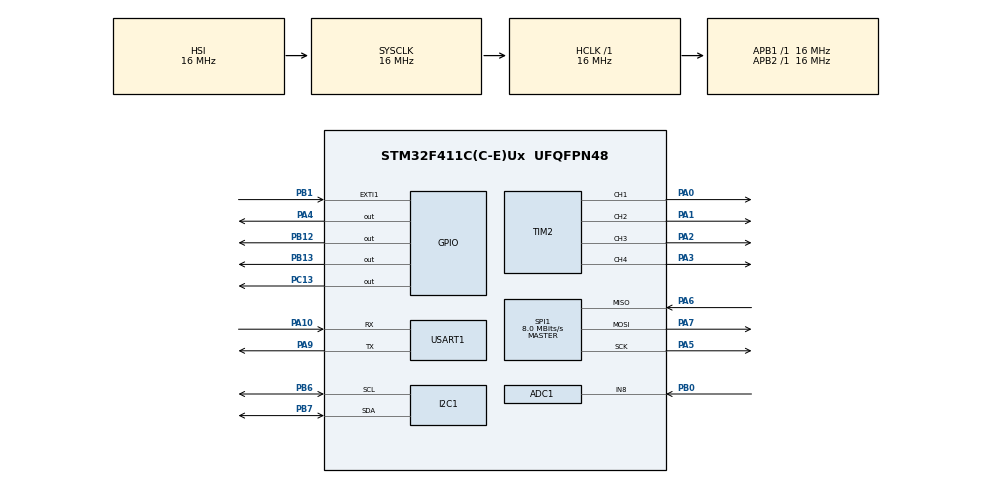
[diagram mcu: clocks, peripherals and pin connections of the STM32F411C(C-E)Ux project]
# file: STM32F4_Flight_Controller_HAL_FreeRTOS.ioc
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ADC1.Channel-7\#ChannelRegularConversion=ADC_CHANNEL_8
ADC1.NbrOfConversionFlag=1
ADC1.Rank-7\#ChannelRegularConversion=1
ADC1.SamplingTime-7\#ChannelRegularConversion=ADC_SAMPLETIME_3CYCLES
ADC1.master=1
Dma.ADC1.0.Direction=DMA_PERIPH_TO_MEMORY
Dma.ADC1.0.FIFOMode=DMA_FIFOMODE_DISABLE
Dma.ADC1.0.Instance=DMA2_Stream0
Dma.ADC1.0.MemDataAlignment=DMA_MDATAALIGN_HALFWORD
Dma.ADC1.0.MemInc=DMA_MINC_ENABLE
Dma.ADC1.0.Mode=DMA_CIRCULAR
Dma.ADC1.0.PeriphDataAlignment=DMA_PDATAALIGN_HALFWORD
Dma.ADC1.0.PeriphInc=DMA_PINC_DISABLE
Dma.ADC1.0.Priority=DMA_PRIORITY_LOW
Dma.Request0=ADC1
Dma.Request1=USART1_TX
Dma.Request2=USART1_RX
Dma.USART1_RX.2.Direction=DMA_PERIPH_TO_MEMORY
Dma.USART1_RX.2.FIFOMode=DMA_FIFOMODE_DISABLE
Dma.USART1_RX.2.Instance=DMA2_Stream2
Dma.USART1_RX.2.MemDataAlignment=DMA_MDATAALIGN_BYTE
Dma.USART1_RX.2.MemInc=DMA_MINC_ENABLE
Dma.USART1_RX.2.Mode=DMA_NORMAL
Dma.USART1_RX.2.PeriphDataAlignment=DMA_PDATAALIGN_BYTE
Dma.USART1_RX.2.PeriphInc=DMA_PINC_DISABLE
Dma.USART1_RX.2.Priority=DMA_PRIORITY_LOW
Dma.USART1_TX.1.Direction=DMA_MEMORY_TO_PERIPH
Dma.USART1_TX.1.FIFOMode=DMA_FIFOMODE_DISABLE
Dma.USART1_TX.1.Instance=DMA2_Stream7
Dma.USART1_TX.1.MemDataAlignment=DMA_MDATAALIGN_BYTE
Dma.USART1_TX.1.MemInc=DMA_MINC_ENABLE
Dma.USART1_TX.1.Mode=DMA_NORMAL
Dma.USART1_TX.1.PeriphDataAlignment=DMA_PDATAALIGN_BYTE
Dma.USART1_TX.1.PeriphInc=DMA_PINC_DISABLE
Dma.USART1_TX.1.Priority=DMA_PRIORITY_LOW
FREERTOS.Tasks01=defaultTask,24,128,StartDefaultTask,Default,NULL,Dynamic,NULL,NULL
FREERTOS.configENABLE_FPU=1
Mcu.Family=STM32F4
Mcu.Name=STM32F411C(C-E)Ux
Mcu.Package=UFQFPN48
NVIC.DMA2_Stream0_IRQn=true\:5\:0\:false\:false\:true\:true\:false\:true\:true
NVIC.DMA2_Stream2_IRQn=true\:5\:0\:false\:false\:true\:true\:false\:true\:true
NVIC.DMA2_Stream7_IRQn=true\:5\:0\:false\:false\:true\:true\:false\:true\:true
NVIC.PriorityGroup=NVIC_PRIORITYGROUP_4
NVIC.TIM1_UP_TIM10_IRQn=true\:15\:0\:false\:false\:true\:false\:false\:true\:true
NVIC.TimeBase=TIM1_UP_TIM10_IRQn
NVIC.TimeBaseIP=TIM1
PA0-WKUP.Signal=S_TIM2_CH1_ETR
PA1.Signal=S_TIM2_CH2
PA10.Mode=Asynchronous
PA10.Signal=USART1_RX
PA13.Mode=Serial_Wire
PA13.Signal=SYS_JTMS-SWDIO
PA14.Mode=Serial_Wire
PA14.Signal=SYS_JTCK-SWCLK
PA2.Signal=S_TIM2_CH3
PA3.Signal=S_TIM2_CH4
PA4.Signal=GPIO_Output
PA5.Mode=Full_Duplex_Master
PA5.Signal=SPI1_SCK
PA6.Mode=Full_Duplex_Master
PA6.Signal=SPI1_MISO
PA7.Mode=Full_Duplex_Master
PA7.Signal=SPI1_MOSI
PA9.Mode=Asynchronous
PA9.Signal=USART1_TX
PB0.Signal=ADCx_IN8
PB1.Signal=GPXTI1
PB12.Signal=GPIO_Output
PB13.Signal=GPIO_Output
PB6.Mode=I2C
PB6.Signal=I2C1_SCL
PB7.Mode=I2C
PB7.Signal=I2C1_SDA
PC13-ANTI_TAMP.Signal=GPIO_Output
PC14-OSC32_IN.Mode=LSE-External-Oscillator
PC14-OSC32_IN.Signal=RCC_OSC32_IN
PC15-OSC32_OUT.Mode=LSE-External-Oscillator
PC15-OSC32_OUT.Signal=RCC_OSC32_OUT
PH0\ -\ OSC_IN.Mode=HSE-External-Oscillator
PH0\ -\ OSC_IN.Signal=RCC_OSC_IN
PH1\ -\ OSC_OUT.Mode=HSE-External-Oscillator
PH1\ -\ OSC_OUT.Signal=RCC_OSC_OUT
ProjectManager.HeapSize=0x200
ProjectManager.StackSize=0x400
ProjectManager.TargetToolchain=CMake
RCC.AHBFreq_Value=16000000
RCC.APB1Freq_Value=16000000
RCC.APB2Freq_Value=16000000
RCC.CortexFreq_Value=16000000
RCC.HSE_VALUE=25000000
RCC.HSI_VALUE=16000000
RCC.SYSCLKFreq_VALUE=16000000
RCC.VCOOutputFreq_Value=192000000
SH.ADCx_IN8.0=ADC1_IN8,IN8
SH.S_TIM2_CH1_ETR.0=TIM2_CH1,PWM Generation1 CH1
SH.S_TIM2_CH2.0=TIM2_CH2,PWM Generation2 CH2
SH.S_TIM2_CH3.0=TIM2_CH3,PWM Generation3 CH3
SH.S_TIM2_CH4.0=TIM2_CH4,PWM Generation4 CH4
SPI1.CalculateBaudRate=8.0 MBits/s
SPI1.Direction=SPI_DIRECTION_2LINES
SPI1.Mode=SPI_MODE_MASTER
SPI1.VirtualType=VM_MASTER
TIM2.Channel-PWM\ Generation1\ CH1=TIM_CHANNEL_1
TIM2.Channel-PWM\ Generation2\ CH2=TIM_CHANNEL_2
TIM2.Channel-PWM\ Generation3\ CH3=TIM_CHANNEL_3
TIM2.Channel-PWM\ Generation4\ CH4=TIM_CHANNEL_4
TIM2.OCFastMode_PWM-PWM\ Generation1\ CH1=TIM_OCFAST_DISABLE
USART1.VirtualMode=VM_ASYNC
VP_FREERTOS_VS_CMSIS_V2.Mode=CMSIS_V2
VP_SYS_VS_tim1.Mode=TIM1
board=custom

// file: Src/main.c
/* USER CODE BEGIN Header */
/**
  ******************************************************************************
  * @file           : main.c
  * @brief          : Main program body
  ******************************************************************************
  * @attention
  *
  * Copyright (c) 2026 STMicroelectronics.
  * All rights reserved.
  *
  * This software is licensed under terms that can be found in the LICENSE file
  * in the root directory of this software component.
  * If no LICENSE file comes with this software, it is provided AS-IS.
  *
  ******************************************************************************
  */
/* USER CODE END Header */
#include "main.h"
// #include "cmsis_os.h"
#include "adc.h"
#include "dma.h"
#include "i2c.h"
#include "indicators.h"
#include "spi.h"
#include "stm32f4xx_hal.h"
#include "tim.h"
#include "usart.h"
#include "gpio.h"

/* USER CODE BEGIN Includes */
#include <stdbool.h>
#include "mpu6050.h"
#include "bmp280.h"
#include "qmc5883p.h"
#include "sync.h"
#include "logging.h"
#include "helper_functions.h"
/* USER CODE END Includes */

/* USER CODE BEGIN PV */
bool init_success = true;
/* USER CODE END PV */

void SystemClock_Config(void);
void MX_FREERTOS_Init(void);

int main(void)
{

  /* MCU Configuration--------------------------------------------------------*/

  /* Reset of all peripherals, Initializes the Flash interface and the Systick. */
  HAL_Init();

  /* Configure the system clock */
  SystemClock_Config();

  /* Initialize all configured peripherals */
  MX_GPIO_Init();
  MX_DMA_Init();
  MX_ADC1_Init();
  MX_I2C1_Init();
  MX_SPI1_Init();
  MX_TIM2_Init();
  MX_USART1_UART_Init();
  /* USER CODE BEGIN 2 */
  led_on();
  HAL_Delay(100);
  if (!mpu6050_init(&hi2c1)) init_success = false;
  if (!bmp280_init(&hi2c1)) init_success = false;
  if (!qmc5883p_init(&hi2c1)) init_success = false;
  if (!sync_init()) init_success = false;

  if (!init_success) {
    log_printf("Initialization failed!\r\n");
    buzz_error();
    Error_Handler();
  } else {
    log_printf("Initialized successfully.\r\n");
    buzz_init_success();
    led_off();
  }
  /* USER CODE END 2 */

  /* Init scheduler */
  osKernelInitialize();

  /* Call init function for freertos objects (in cmsis_os2.c) */
  MX_FREERTOS_Init();

  /* Start scheduler */
  osKernelStart();

  /* We should never get here as control is now taken by the scheduler */

  /* Infinite loop */
  while (1)
  {
    ///////////////////////// Do Not Use this! Use the FreeRTOS loops!
  }
}

void SystemClock_Config(void)
{
  RCC_OscInitTypeDef RCC_OscInitStruct = {0};
  RCC_ClkInitTypeDef RCC_ClkInitStruct = {0};

  /** Configure the main internal regulator output voltage
  */
  __HAL_RCC_PWR_CLK_ENABLE();
  __HAL_PWR_VOLTAGESCALING_CONFIG(PWR_REGULATOR_VOLTAGE_SCALE1);

  /** Initializes the RCC Oscillators according to the specified parameters
  * in the RCC_OscInitTypeDef structure.
  */
  RCC_OscInitStruct.OscillatorType = RCC_OSCILLATORTYPE_HSI;
  RCC_OscInitStruct.HSIState = RCC_HSI_ON;
  RCC_OscInitStruct.HSICalibrationValue = RCC_HSICALIBRATION_DEFAULT;
  RCC_OscInitStruct.PLL.PLLState = RCC_PLL_NONE;
  if (HAL_RCC_OscConfig(&RCC_OscInitStruct) != HAL_OK)
  {
    Error_Handler();
  }

  /** Initializes the CPU, AHB and APB buses clocks
  */
  RCC_ClkInitStruct.ClockType = RCC_CLOCKTYPE_HCLK|RCC_CLOCKTYPE_SYSCLK
                              |RCC_CLOCKTYPE_PCLK1|RCC_CLOCKTYPE_PCLK2;
  RCC_ClkInitStruct.SYSCLKSource = RCC_SYSCLKSOURCE_HSI;
  RCC_ClkInitStruct.AHBCLKDivider = RCC_SYSCLK_DIV1;
  RCC_ClkInitStruct.APB1CLKDivider = RCC_HCLK_DIV1;
  RCC_ClkInitStruct.APB2CLKDivider = RCC_HCLK_DIV1;

  if (HAL_RCC_ClockConfig(&RCC_ClkInitStruct, FLASH_LATENCY_0) != HAL_OK)
  {
    Error_Handler();
  }
}

void HAL_TIM_PeriodElapsedCallback(TIM_HandleTypeDef *htim)
{
  if (htim->Instance == TIM1)
  {
    HAL_IncTick();
  }
}

void Error_Handler(void)
{
  __disable_irq();
  while (1)
  {
  }
}

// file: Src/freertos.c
/* USER CODE BEGIN Header */
/**
  ******************************************************************************
  * File Name          : freertos.c
  * Description        : Code for freertos applications
  ******************************************************************************
  * @attention
  *
  * Copyright (c) 2026 STMicroelectronics.
  * All rights reserved.
  *
  * This software is licensed under terms that can be found in the LICENSE file
  * in the root directory of this software component.
  * If no LICENSE file comes with this software, it is provided AS-IS.
  *
  ******************************************************************************
  */
/* USER CODE END Header */

#include "FreeRTOS.h"
#include "spi.h"
#include "timers.h"
#include "i2c.h"
#include "portmacro.h"
#include "projdefs.h"
#include "task.h"
#include "main.h"
#include <stdint.h>
#include <stdbool.h>
#include "usart.h"

#include "mpu6050.h"
#include "bmp280.h"
#include "qmc5883p.h"
#include "ema.h"
#include "madgwick_filter.h"
#include "kalman_altitude.h"
#include "sync.h"
#include "helper_functions.h"
#include "indicators.h"
#include "lygapid.h"
#include "velocity_z_control.h"
#include "rx_com.h"

// DEFINE PRIORITY LEVELS (status: working)
#define PRIORITY_PID_FUSION       1 // 500 Hz -> try prio: 2 (radio task starve)
#define PRIORITY_WDT              1 // 1 Hz
#define PRIORITY_SENSOR_READ      1 // 1 kHz
#define PRIORITY_RADIO            1 // Interrupt driven
#define PRIORITY_BLINK            1 // 1 Hz
#define PRIORITY_BATTERY_MONITOR  1 // 10 Hz

// Global variables (to be transferred in: shared_data module)

// Failsafe for Radio
TimerHandle_t linkWatchdogTimer = NULL;
const TickType_t LINK_TIMEOUT_MS = 200;
volatile bool connection_ok = false;

mpu6050Data_t imuData;
bmp280Data_t baroData;
magData_t magData;
MadgwickData_t madData;

KalmanState_t kalmanState;

LyGAPIDControllerData_t pidRoll, pidPitch, pidRollRate, pidPitchRate, pidYawRate;

int16_t telemetry[5] = {0}; // [alt, vz, _, _, vbat]
int16_t cmd[5] = {0}; // [vz_cmd, yaw_rate_cmd, pitch_cmd, roll_cmd, kill]

float MadgwickSensorList[9] = {0}; // [a(3), w(3), m(3)]
float eulerAngles[3] = {0}; // roll, pitch, yaw angles

TaskHandle_t radioTaskHandle;

void MX_FREERTOS_Init(void); /* (MISRA C 2004 rule 8.1) */

// define freeRTOS tasks
void blink_task(void *parameters);
void sensor_task(void *parameters);
void controller_task(void *parameters);
void rx_task(void *parameters);
void vbat_task(void *parameters);

// ------------------- ISR -------------------
void nrfInterruptHandler(void) {
  BaseType_t xHigherPriorityTaskWoken = pdFALSE;
  vTaskNotifyGiveFromISR(radioTaskHandle, &xHigherPriorityTaskWoken);
  portYIELD_FROM_ISR(xHigherPriorityTaskWoken);
}

// === Timer callback (runs in timer task context!) ===
static void linkTimeoutCallback(TimerHandle_t xTimer){
  (void) xTimer;

  connection_ok = false;

  // Safest & fastest way for very short write
  taskENTER_CRITICAL();
  cmd[0] = 0.0f; // zero Vcmd
  cmd[1] = 0.0f; // zero yaw input
  cmd[2] = 0.0f; // zero pitch input
  cmd[3] = 0.0f; // zero roll input
  if (cmd[4] == 0.0f) cmd[5] = 1.0f;   // set E-landing flag;
  taskEXIT_CRITICAL();
}

void initLinkWatchdog(void){
  if (linkWatchdogTimer != NULL) {
    // already created → avoid double creation
    return;
  }

  linkWatchdogTimer = xTimerCreate(
    "LinkWD",
    LINK_TIMEOUT_MS / portTICK_PERIOD_MS, // timer period in ticks
    pdTRUE,                 // auto-reload
    NULL,
    linkTimeoutCallback
  );

  if (linkWatchdogTimer == NULL) {
      // Critical error - handle somehow (LED blink fast, Serial error, etc.)
      // For development you can leave it like this:
      // for(;;) { /* fail safe loop */ }
      connection_ok = false;
      taskENTER_CRITICAL();
      cmd[4] = 1.0f;  // stay killed
      taskEXIT_CRITICAL();
  }

  // We do NOT start it here — first valid packet will start/reset it
}

BaseType_t result;
bool init_flag = false; // Flag to indicate that FreeRTOS tasks have been initialized
void MX_FREERTOS_Init(void) {
  result = xTaskCreate(
    blink_task,
    "Blink Task",
    128,
    NULL,
    PRIORITY_BLINK,
    NULL
  );
  if (result != pdPASS) {
    // Handle task creation failure
    init_flag = false;
    buzz_error();
    Error_Handler();
  }

  result = xTaskCreate(
    sensor_task,
    "Sensor Task",
    256,
    NULL,
    PRIORITY_SENSOR_READ,
    NULL
  );
  if (result != pdPASS) {
    // Handle task creation failure
    init_flag = false;
    buzz_error();
    Error_Handler();
  }

  result = xTaskCreate( // pid controller & fusion
    controller_task,
    "PID & Fusion task",
    256,
    NULL,
    PRIORITY_PID_FUSION,
    NULL
  );
  if (result != pdPASS) {
    init_flag = false;
    buzz_error();
    Error_Handler();
  }

  result = xTaskCreate(
    rx_task,
    "nRF24 RX task",
    256,
    NULL,
    PRIORITY_RADIO,
    &radioTaskHandle
  );
  if (result != pdPASS) {
    init_flag = false;
    buzz_error();
    Error_Handler();
  }

  result = xTaskCreate(
    vbat_task,
    "Battery Monitor Task",
    128,
    NULL,
    PRIORITY_BATTERY_MONITOR,
    NULL
  );
  if (result != pdPASS) {
    init_flag = false;
    buzz_error();
    Error_Handler();
  }

  init_flag = true;
}

void blink_task(void *parameters){
  (void)parameters;
  const TickType_t intervalTicks = pdMS_TO_TICKS(500); // 500 ms = 1 Hz
  TickType_t lastWakeTime = xTaskGetTickCount();

  for (;;){
    led_toggle();
    vTaskDelayUntil(&lastWakeTime, intervalTicks);
  }
}

void sensor_task(void* parameters) {  // 1 kHz
  (void)parameters;

  const TickType_t intervalTicks = pdMS_TO_TICKS(1);  // 1ms = 1 kHz
  TickType_t lastWakeTime = xTaskGetTickCount();

  float local_altitude;
  float ax, ay, az, wx, wy, wz, mx, my, mz; // Madgwick

  ema_t axLPF, ayLPF, azLPF;
  ema_t wxLPF, wyLPF, wzLPF;
  ema_t raw_alt_LPF;
  ema_t vzLPF;
  ema_t azTrueLPF;

  // init for Accel LPF PT1
  emaInit(&axLPF, 1.0f, 3.0f, 1000.0f); // 15 Hz cutoff
  emaInit(&ayLPF, 1.0f, 3.0f, 1000.0f); // 15 Hz cutoff
  emaInit(&azLPF, 1.0f, 3.0f, 1000.0f); // 15 Hz cutoff

  emaInit(&wxLPF, 1.0f, 100.0f, 1000.0f); // 100 Hz cutoff
  emaInit(&wyLPF, 1.0f, 100.0f, 1000.0f); // 100 Hz cutoff
  emaInit(&wzLPF, 1.0f, 100.0f, 1000.0f); // 100 Hz cutoff

  emaInit(&raw_alt_LPF, 1.0f, 5.0f, 1000.0f); //was: PT1, fc = 1 Hz, fs = 1 kHz for raw altitude measurement smoothing
  emaInit(&vzLPF, 1.0f, 5.0f, 200.0f);

  float dt;

  kalman_init(&kalmanState); // Initialize Kalman filter state

  static int kalman_counter = 0; // run every 100 Hz
  const int kalman_interval = 5; //was: 10 ms = 100 Hz

  float fusedAlt = 0.0f;
  float velocity_z = 0.0f;
  float accel_bias = 0.0f;

  float az_true = 0.0f; // in g units
  float az_true_f = 0.0f;
  emaInit(&azTrueLPF, 1.0f, 5.0f, 1000.0f); // PT1 for vertical acceleration in world frame, fc = 2 Hz, fs = 1 kHz (for Kalman fusion)

  for (;;) {
    dt = intervalTicks * portTICK_PERIOD_MS / 1000.0f; // dt in seconds

    kalman_counter++;

    // read the BMP280 sensor
    if (xSemaphoreTake(i2cMutex, pdMS_TO_TICKS(1)) == pdTRUE){
      // read MPU6050, BMP280, Magnetometer sensor:
      if (mpu6050_init(&hi2c1) && bmp280_init(&hi2c1) && qmc5883p_init(&hi2c1)) {

        // Successfully read MPU6050 data (acc_xyz is in g-units)
        ax = imuData.ax;
        ay = imuData.ay;
        az = imuData.az;
        wx = imuData.wx;
        wy = imuData.wy;
        wz = imuData.wz;
        mx = magData.mx;
        my = magData.my;
        mz = magData.mz;

        // Apply EMA filter to accelerometer data
        emaUpdate(&axLPF, ax);
        emaUpdate(&ayLPF, ay);
        emaUpdate(&azLPF, az);
        emaUpdate(&wxLPF, wx);
        emaUpdate(&wyLPF, wy);
        emaUpdate(&wzLPF, wz);

        ax = axLPF.output; // Get filtered X
        ay = ayLPF.output; // Get filtered Y
        az = azLPF.output; // Get filtered Z
        wx = wxLPF.output; // Get filtered X
        wy = wyLPF.output; // Get filtered Y
        wz = wzLPF.output; // Get filtered Z

        local_altitude = baroData.altitude; // Store altitude locally

      }else {
        // usart print:
        Error_Handler();
      }
      xSemaphoreGive(i2cMutex);
    }

    // update the Madgwick's data:
    if (xSemaphoreTake(madgwickMutex, pdMS_TO_TICKS(1)) == pdTRUE){
      MadgwickSensorList[0] = ax; // Accel X
      MadgwickSensorList[1] = ay; // Accel Y
      MadgwickSensorList[2] = az; // Accel Z
      MadgwickSensorList[3] = wx; // Gyro X
      MadgwickSensorList[4] = wy; // Gyro Y
      MadgwickSensorList[5] = wz; // Gyro Z
      MadgwickSensorList[6] = mx; // Mag X
      MadgwickSensorList[7] = my; // Mag Y
      MadgwickSensorList[8] = mz; // Mag Z

      az_true = getTrueAz(&madData, az);  // get vertical acceleration in g units

      xSemaphoreGive(madgwickMutex);
    }

    // call LP filter
    emaUpdate(&raw_alt_LPF, local_altitude); // Update raw altitude LPF
    local_altitude = raw_alt_LPF.output; // Get smoothed altitude for fusion

    emaUpdate(&azTrueLPF, az_true); // LPF for vertical acceleration in world frame

    if (kalman_counter >= kalman_interval) { // 100 Hz
      az_true_f = azTrueLPF.output; // Get smoothed vertical acceleration in world frame for fusion
      if (fabsf(az_true_f - 1.0f) < 0.10f) {  // Ignore small accelerations
        az_true_f = 1.0f;
      }
      az_true_f = (az_true_f - 1.0f) * 9.81f;

      az_true_f = constrainFloat(az_true_f, -20.0f, 20.0f); // Constrain to reasonable range for a drone (tune as needed)

      kalman_update(&kalmanState, local_altitude, az_true_f, dt * kalman_interval); // Kalman filter update for altitude estimation
      fusedAlt = kalmanState.S[0]; // Get altitude estimate from Kalman filter
      velocity_z = kalmanState.S[1]; // Get vertical velocity estimate from Kalman filter
      accel_bias = kalmanState.S[2]; // see if converge to -0.30

      emaUpdate(&vzLPF, velocity_z);
      velocity_z = vzLPF.output; // Get smoothed vertical velocity

      float vz_deadband = 0.15f; // was 20
      // if (fabs(az_true_f) < 0.1f && fabs(velocity_z) < 0.3f) vz_deadband = 0.05f;
      if (fabsf(velocity_z) < vz_deadband) velocity_z = 0.0f; // deadband to prevent jitter around zero velocity

      // leakage for vz
      const float vz_leak = 0.999f;
      velocity_z *= vz_leak;

      kalman_counter = 0; // reset counter
    }

    // Update shared data: BMP280 altitude
    if (xSemaphoreTake(telemetryMutex, pdMS_TO_TICKS(1)) == pdTRUE){
      telemetry[0] = fusedAlt; // Update altitude in telemetry
      telemetry[1] = velocity_z; // Update vertical velocity in telemetry
      xSemaphoreGive(telemetryMutex);
    }

    // // debug printf (one task activated at a time)
    // if (xSemaphoreTake(uartMutex, portMAX_DELAY)){
    //   log_printf("Euler (roll, pitch, yaw): %.2f, %.2f, %.2f\r\n", madData.roll, madData.pitch, madData.yaw);

    //   xSemaphoreGive(uartMutex);
    // }

    vTaskDelayUntil(&lastWakeTime, intervalTicks);
  }
}

void controller_task(void *parameters){
  (void)parameters;

  TickType_t lastWakeTime = xTaskGetTickCount();
  const TickType_t interval = pdMS_TO_TICKS(2);  // 500 Hz
  const float dt = 0.002f;

  // ------ Initialize Adaptive PID (ATTi Mode) -------

  // outer loop: P-controller for roll, pitch, yaw angles (unit: rad)
  initLyGAPID(&pidRoll,  P, 0.0f, 0.0f, GAMMA_B, SIGMA, U_MAX_ROLL, CONTROLLER_MODE);
  initLyGAPID(&pidPitch, P, 0.0f, 0.0f, GAMMA_B, SIGMA, U_MAX_PITCH, CONTROLLER_MODE);

  // inner loop: PID for rates (unit: rad/sec)
  initLyGAPID(&pidRollRate,  KP, KI, KD, GAMMA_B, SIGMA, U_MAX_ROLL_RATE, CONTROLLER_MODE);
  initLyGAPID(&pidPitchRate, KP, KI, KD, B_SIGN, SIGMA, U_MAX_PITCH_RATE, CONTROLLER_MODE);
  initLyGAPID(&pidYawRate,   KP, KI, KD, B_SIGN, SIGMA, U_MAX_YAW_RATE, CONTROLLER_MODE);

  // ====================== CONFIG ======================
  const float BASE_THROTTLE = 1000.0f;      // Fixed base in mixer
  const float MAX_TB        = 555.0f;       // Maximum hover component for takeoff only (was 53% too low, 58% too high), [54, 55]
  const float HOVER_TB      = 545.0f;       // Starting guess - tune this later

  const float KP_VZ = 143.0f; // was 140: [140, 180], 130 was too low
  const float KI_VZ = 0.5f; // was 0.5 good, [0.5, 2]
  const float VZ_OUTPUT_LIMIT = 200.0f; // already good

  const float ARM_HOLD_TIME = 2.1f; // 2.1 sec

  const float MOTOR_MIN = 1050.0f;
  const float MOTOR_MAX = 2000.0f;

  bool KILL_MOTORS = false;
  bool E_LAND = false; // Emergency Landing flag if signal is loss

  // ====================== VARIABLES ======================
  float vz_cmd = 0.0f;                    // Raw stick [-80,100]
  float vz_cmdFiltered = 0.0f;            // in m/s
  float velocity_z = 0.0f;
  float altitude = 0.0f;

  float roll, pitch, yaw;
  float rollRate, pitchRate, yawRate;

  float rollInput, pitchInput, yawInput;

  float rollInputFiltered = 0.0f;
  float pitchInputFiltered = 0.0f;
  float yawInputFiltered = 0.0f;

  // EMA filters
  ema_t R_LPF, P_LPF, Y_LPF, VZ_LPF;
  ema_t Vb_sag_comp_LPF;
  emaInit(&R_LPF, 1.0f, 15.0f, 500.0f);
  emaInit(&P_LPF, 1.0f, 15.0f, 500.0f);
  emaInit(&Y_LPF, 1.0f, 15.0f, 500.0f);
  emaInit(&VZ_LPF, 1.0f, 15.0f, 500.0f);

  emaInit(&Vb_sag_comp_LPF, 1.0f, 5.0f, 500.0f); // PT1 for voltage sag compensation

  // vertical controller mode
  typedef enum {
    VELOCITY_CONTROL,
    ALTITUDE_CONTROL
  } VerticalControlMode_t;

  VerticalControlMode_t vertical_mode = VELOCITY_CONTROL; // @ 100 Hz

  // State machine
  typedef enum {
    DISARMED,
    ARMED_IDLE,
    TAKEOFF,
    FLYING
  } FlightState_t;

  FlightState_t flightState = DISARMED;
  float armingTimer = 0.0f;
  float takeoffRamp = 0.0f;

  float vz_correction = 0.0f;
  float tb = 0.0f;                        // 0 → hover (this is your hover component)
  float Vb = 0.0; // 3s lipo: [10.8V, 12.6V]

  float motor_cmd[4] = {MOTOR_MIN, MOTOR_MIN, MOTOR_MIN, MOTOR_MIN};

  VelocityControlZData_t vz_in;
  init_vz_control(&vz_in, KP_VZ, KI_VZ, VZ_OUTPUT_LIMIT);

  float roll_rate_setpoint = 0.0f;
  float pitch_rate_setpoint = 0.0f;
  float yaw_rate_setpoint = 0.0f;

  float ax, ay, az, wx, wy, wz, mx, my, mz;

  int outer_loop_counter = 0;
  int print_counter = 0;

  vTaskDelay(pdMS_TO_TICKS(3000)); // 3 seconds wait for the motors to arm

  for (;;) {
    // Sensor Read (Madgwick + Telemetry)
    if (xSemaphoreTake(madgwickMutex, pdMS_TO_TICKS(1)) == pdTRUE) {
      ax = MadgwickSensorList[0]; ay = MadgwickSensorList[1]; az = MadgwickSensorList[2];
      wx = MadgwickSensorList[3]; wy = MadgwickSensorList[4]; wz = MadgwickSensorList[5];
      mx = MadgwickSensorList[6]; my = MadgwickSensorList[7]; mz = MadgwickSensorList[8];
      xSemaphoreGive(madgwickMutex);
    }

    MadgwickFilterUpdate(&madData, wx, wy, wz, ax, ay, az, mx, my, mz, dt);
    MadgwickGetEuler(&madData);

    if (xSemaphoreTake(eulerAnglesMutex, pdMS_TO_TICKS(1)) == pdTRUE) {
      eulerAngles[0] = madData.roll;
      eulerAngles[1] = madData.pitch;
      eulerAngles[2] = madData.yaw;
      xSemaphoreGive(eulerAnglesMutex);
    }

    roll  = eulerAngles[0] * DEG_TO_RAD;
    pitch = eulerAngles[1] * DEG_TO_RAD;
    yaw   = eulerAngles[2] * DEG_TO_RAD;

    rollRate  = wx;
    pitchRate = wy;
    yawRate   = wz;

    // User Input
    if (xSemaphoreTake(nRF24Mutex, pdMS_TO_TICKS(1)) == pdTRUE) {
      vz_cmd     = cmd[0]; // [-0.8, 1.0] m/s
      yawInput   = cmd[1]; // [-180, 180] deg/s → rad/s
      pitchInput = cmd[2]; // [-20, 20] deg → rad
      rollInput  = cmd[3]; // [-20, 20] deg → rad

      KILL_MOTORS = (cmd[4] != 0.0f);
      // bool pilot_E_LAND = (cmd[5] != 0.0f);
      bool pilot_E_LAND = false; // temporarily true

      // Pilot E_LAND switch OR low battery triggers emergency descent
      // But KILL_MOTORS overrides everything
      if (!KILL_MOTORS) {
        if (pilot_E_LAND || (Vb < 10.9f)) E_LAND = true;
        else E_LAND = false;
      }

      xSemaphoreGive(nRF24Mutex);
    }

    // constrain redundancy
    rollInput  = constrainFloat(rollInput, -PITCH_ROLL_MAX, PITCH_ROLL_MAX);
    pitchInput = constrainFloat(pitchInput, -PITCH_ROLL_MAX, PITCH_ROLL_MAX);
    yawInput   = constrainFloat(yawInput, -YAW_MAX, YAW_MAX);
    vz_cmd     = constrainFloat(vz_cmd, -0.8f, 1.0f);

    // Telemetry Update
    if (xSemaphoreTake(telemetryMutex, pdMS_TO_TICKS(1)) == pdTRUE) {
      altitude = telemetry[0];
      velocity_z = telemetry[1];
      Vb = telemetry[4] / 100.0f; // Convert to volts (3S LiPo) [10.8, 12.6] V

      xSemaphoreGive(telemetryMutex);
    }

    // E_LAND Behavior (execute in control loop, not in semaphore blocks)
    if (E_LAND && !KILL_MOTORS) {
      // Force descent unless pilot is actively climbing
      if (vz_cmd < 0.1f) {  // Not commanding significant climb
        vz_cmd = -0.4f;   // Safe descent rate, was 0.5
      }
      // If pilot gives positive vz_cmd, let them override
    }

    if (flightState == DISARMED || flightState == ARMED_IDLE) {
      altitude = 0.0f;
      velocity_z = 0.0f;
      kalman_reset(&kalmanState);
    }

    if ((flightState == TAKEOFF || flightState == FLYING) &&
      (fabsf(roll) > MAX_SAFE_ANGLE_RAD || fabsf(pitch) > MAX_SAFE_ANGLE_RAD)) {
      KILL_MOTORS = true;
      flightState = DISARMED;
    }

    // ====================== ARMING (DJI Style) ======================
    bool sticksInArmPosition = (vz_cmd < -0.70f) && (fabsf(pitchInput) > 18.0f * DEG_TO_RAD) && (fabs(pitch) < 10.0f) && (fabs(roll) < 10.0f);

    if (flightState == DISARMED) {
      if (sticksInArmPosition) {
        armingTimer += dt;
        if (armingTimer >= ARM_HOLD_TIME) {
          flightState = ARMED_IDLE;
          armingTimer = 0.0f;
          tb = 0.0f;
          buzz_trigger(1, 120);                    // One short beep on arm
          for (int i = 0; i < 4; i++) motor_cmd[i] = 1150.0f;
        }
      } else {
        armingTimer = 0.0f;
      }
    }

    // ====================== STATE MACHINE ======================
    switch (flightState) {
      case DISARMED:
        tb = 0.0f;
        vz_in.is_flying = 0.0f;
        break;

      case ARMED_IDLE:
        tb = 0.0f;
        vz_in.is_flying = 0.0f;
        if (vz_cmd > -0.70f) {
          flightState = TAKEOFF;
          takeoffRamp = 0.0f;
        }
        break;

      case TAKEOFF:
        vz_in.is_flying = 0.0f; // should i make this 0? let's try:
        takeoffRamp += dt * 0.75f;           // ~1.3s ramp
        if (takeoffRamp > 1.0f) takeoffRamp = 1.0f;

        tb = takeoffRamp * MAX_TB;           // ramp 0 → 545

        if (takeoffRamp >= 1.0f && fabsf(velocity_z) < 0.5f) {
          flightState = FLYING;
        }
        break;

      case FLYING:
        vz_in.is_flying = 1.0f;
        // ====================== GROUND EFFECT COMPENSATION (E-LAND) ======================
        const float K_GE = 200.0f;  // Tune this (start 80-120)
        const float GE_THRESHOLD = 1.4f;
        const float R_PROP = 0.127f;  // 1045-inch prop radius
        float ge_comp = 0.0f;

        if (altitude < GE_THRESHOLD && E_LAND) {
          float z = altitude; // distance from ground in meters
          if (z < 0.3) z = 0.3; // prevent extreme compensation when very close to ground
          ge_comp = K_GE * (R_PROP / z) * (R_PROP / z);
        }

        // gain sched for voltage sag
        float Vb_gain = 50.0f;
        float drop = 12.6f - Vb; // how much voltage has dropped from ideal
        if (Vb < 12.0f && Vb > 11.4f) Vb_gain = 60.0f;
        else if (Vb < 11.4f) Vb_gain = 70.0f;

        float voltage_sag_com = Vb_gain * drop; // remove this in the future

        // voltage sag LPF
        // emaUpdate(&Vb_sag_comp_LPF, voltage_sag_com);
        // voltage_sag_com = Vb_sag_comp_LPF.output;

        tb = HOVER_TB + voltage_sag_com - ge_comp; // voltage sag compensation

        break;
    }

    // ====================== FILTERING ======================
    emaUpdate(&R_LPF, rollInput);
    emaUpdate(&P_LPF, pitchInput);
    emaUpdate(&Y_LPF, yawInput);
    emaUpdate(&VZ_LPF, vz_cmd);

    rollInputFiltered  = constrainFloat(R_LPF.output, -PITCH_ROLL_MAX, PITCH_ROLL_MAX);
    pitchInputFiltered = constrainFloat(P_LPF.output, -PITCH_ROLL_MAX, PITCH_ROLL_MAX);
    yawInputFiltered   = constrainFloat(Y_LPF.output, -YAW_MAX, YAW_MAX);
    vz_cmdFiltered     = VZ_LPF.output;   // [-0.8,1.0] m/s

    // Attitude outer loop @ 100 Hz
    outer_loop_counter++;
    if (outer_loop_counter >= 5) {
      // Vertical Velocity Controller
      if ((flightState == TAKEOFF || flightState == FLYING) && vertical_mode == VELOCITY_CONTROL) {
        vz_correction = compute_vz_control(&vz_in, vz_cmdFiltered, velocity_z, dt);
      }
      roll_rate_setpoint  = computeLyGAPID_out(&pidRoll,  rollInputFiltered,  roll,  0.01f);
      pitch_rate_setpoint = computeLyGAPID_out(&pidPitch, pitchInputFiltered, pitch, 0.01f);
      outer_loop_counter = 0;
    }

    yaw_rate_setpoint = yawInputFiltered;

    bool isFlying = (flightState == FLYING);
    pidRoll.landed = pidPitch.landed = pidRollRate.landed = pidPitchRate.landed = isFlying ? 0.0f : 1.0f;

    float total_throttle = BASE_THROTTLE + tb + vz_correction;

    // Apply appropriate limits per state
    if (flightState == TAKEOFF || flightState == FLYING) {
      total_throttle = constrainFloat(total_throttle, 1450.0f, 1750.0f);
    }
    // DISARMED and ARMED_IDLE handle their own motor values directly

    // Motor Mixer
    if (KILL_MOTORS) {
      resetLyGAPID(&pidRoll); resetLyGAPID(&pidPitch);
      resetLyGAPID(&pidRollRate); resetLyGAPID(&pidPitchRate); resetLyGAPID(&pidYawRate);
      kalman_reset(&kalmanState);
      flightState = DISARMED;
      tb = 0.0f;
      vz_in.is_flying = 0.0f;
      pidRoll.landed = pidPitch.landed = pidRollRate.landed = pidPitchRate.landed = 1.0f;
      for (int i = 0; i < 4; i++) motor_cmd[i] = MOTOR_MIN;
    } else {
      float R_mix = constrainFloat(computeLyGAPID_in(&pidRollRate, roll_rate_setpoint, rollRate, dt), -U_MAX_ROLL_RATE, U_MAX_ROLL_RATE);
      float P_mix = constrainFloat(computeLyGAPID_in(&pidPitchRate, pitch_rate_setpoint, pitchRate, dt), -U_MAX_PITCH_RATE, U_MAX_PITCH_RATE);
      float Y_mix = constrainFloat(computeLyGAPID_yaw(&pidYawRate, yaw_rate_setpoint, yawRate, dt), -U_MAX_YAW_RATE, U_MAX_YAW_RATE);

      motor_cmd[0] = total_throttle + R_mix + P_mix - Y_mix;
      motor_cmd[1] = total_throttle - R_mix + P_mix + Y_mix;
      motor_cmd[2] = total_throttle + R_mix - P_mix + Y_mix;
      motor_cmd[3] = total_throttle - R_mix - P_mix - Y_mix;
    }

    for (int i = 0; i < 4; i++) {
      motor_cmd[i] = constrainFloat(motor_cmd[i], MOTOR_MIN, MOTOR_MAX);
    }

    // Motor Output
    TIM2->CCR1 = (uint16_t)motor_cmd[0];
    TIM2->CCR2 = (uint16_t)motor_cmd[1];
    TIM2->CCR3 = (uint16_t)motor_cmd[2];
    TIM2->CCR4 = (uint16_t)motor_cmd[3];

    // if (++print_counter >= 50) {
    //   print_counter = 0;
    // }

    // // logging (one task at a time for activation)
    // print_counter ++;
    // if (xSemaphoreTake(uartMutex, pdMS_TO_TICKS(1)) == pdTRUE){
    //   print_couter = 0;
    //   log_printf("hey yo! \r\n");
    //   xSemaphoreGive(uartMutex);
    // }

    vTaskDelayUntil(&lastWakeTime, interval);
  }
}

void rx_task(void *parameters) {
  (void)parameters;

  int16_t local_telemetry[6] = {0};
  int16_t rx_load[5] = {0};

  uint8_t PIPE_INDEX = 0x00;

  initLinkWatchdog();
  connection_ok = false;

  for (;;) {
    ulTaskNotifyTake(pdTRUE, portMAX_DELAY);

    uint8_t flags = radio_clearStatusFlags(&hspi1);

    if (flags & 0x40) { // 0x40 from the STATUS reg RX_DR bit
        while (radio_available(&hspi1)) {
            connection_ok = true;

            // Restart watchdog
            if (xTimerIsTimerActive(linkWatchdogTimer) == pdFALSE) {
              xTimerStart(linkWatchdogTimer, 0);
            } else {
              xTimerReset(linkWatchdogTimer, 0);
            }

            // Prepare ACK payload
            if (xSemaphoreTake(eulerAnglesMutex, pdMS_TO_TICKS(1)) == pdTRUE) {
              local_telemetry[0] = (int16_t)eulerAngles[0];
              local_telemetry[1] = (int16_t)eulerAngles[1];
              local_telemetry[2] = (int16_t)eulerAngles[2];
              xSemaphoreGive(eulerAnglesMutex);
            }
            if (xSemaphoreTake(telemetryMutex, pdMS_TO_TICKS(1)) == pdTRUE) {
              local_telemetry[3] = (int16_t)(telemetry[0] * 100.0f);
              local_telemetry[4] = (int16_t)telemetry[4];
              local_telemetry[5] = (int16_t)(telemetry[1] * 100.0f);
              xSemaphoreGive(telemetryMutex);
            }

            radio_writeAckPayload(&hspi1, PIPE_INDEX, local_telemetry, sizeof(local_telemetry));

            radio_read(&hspi1, rx_load, sizeof(rx_load));

            // Process commands...
            float Tcmd = (float)rx_load[0] / 100.0f;
            float Ycmd = ((float)rx_load[1]) * DEG_TO_RAD;
            float Pcmd = ((float)rx_load[2] / 100.0f) * DEG_TO_RAD * (-1.0f);
            float Rcmd = ((float)rx_load[3] / 100.0f) * DEG_TO_RAD;
            float kill = (rx_load[4] == 0) ? 0.0f : 1.0f;

            if (xSemaphoreTake(nRF24Mutex, pdMS_TO_TICKS(1)) == pdTRUE) {
                cmd[0] = constrainFloat(Tcmd, THROTTLE_MIN, THROTTLE_MAX);
                cmd[1] = constrainFloat(Ycmd, -YAW_MAX, YAW_MAX);
                cmd[2] = constrainFloat(Pcmd, -PITCH_ROLL_MAX, PITCH_ROLL_MAX);
                cmd[3] = constrainFloat(Rcmd, -PITCH_ROLL_MAX, PITCH_ROLL_MAX);
                cmd[4] = kill;
                xSemaphoreGive(nRF24Mutex);
            }
        }
    }

    // Handle TX FIFO issues (MAX_RT flag)
    if (flags & 0x10) {
      radio_flush_tx(&hspi1);
    }

    // === NEW: Periodic recovery check ===
    static uint32_t lastRecoverCheck = 0;
    if (xTaskGetTickCount() - lastRecoverCheck > pdMS_TO_TICKS(500)) { // was 200
        lastRecoverCheck = xTaskGetTickCount();

        if (!connection_ok) {
          radio_stopListening();
          radio_flush_rx(&hspi1);
          radio_flush_tx(&hspi1);
          radio_startListening();
          radio_clearStatusFlags(&hspi1);
        }
    }
  }
}

void vbat_task(void *parameters){
  (void)parameters;

  TickType_t interval = pdMS_TO_TICKS(20);
  TickType_t lastWakeTime = xTaskGetTickCount();

  float batteryVoltage; // Variable to hold battery voltage

  int counter = 0;
  float Vb_avg = 0.0f;

  ema_t VbLPF;
  emaInit(&VbLPF, 2.0f, 10.0f, 50.0f); // PT2, fc = 5 Hz, fs = 50 Hz (dt=0.02s) for battery voltage smoothing

  for (;;){
    // Read battery voltage
    counter++;
    uint16_t adc_value = readVbat();
    emaUpdate(&VbLPF, adc_value);
    adc_value = VbLPF.output; // Get filtered ADC value

    Vb_avg += (float)adc_value / 10.0f; // accumulate for averaging

    if (counter == 10){
      batteryVoltage = Vb_avg * (12.6f / 2430.0f); // Convert ADC value to voltage (assuming 12.6V max and 12-bit ADC)

      // clamp battery level to reasonable range
      batteryVoltage = constrainFloat(batteryVoltage, 10.7f, 12.6f); // Constrain to reasonable range

      // Update shared data
      if (xSemaphoreTake(telemetryMutex, portMAX_DELAY)) {
        telemetry[4] = (int16_t)(100.0f * batteryVoltage); // Update battery voltage in telemetry (scaled by 100)
        xSemaphoreGive(telemetryMutex);
      }

      if (batteryVoltage < 10.8f){
        buzz_on();
        vTaskDelay(pdMS_TO_TICKS(10));
        buzz_off();
      }

      Vb_avg = 0.0f; // reset the voltage
      counter = 0; // reset the counter
    }

    vTaskDelayUntil(&lastWakeTime, interval); // Delay until the next cycle
  }
}
